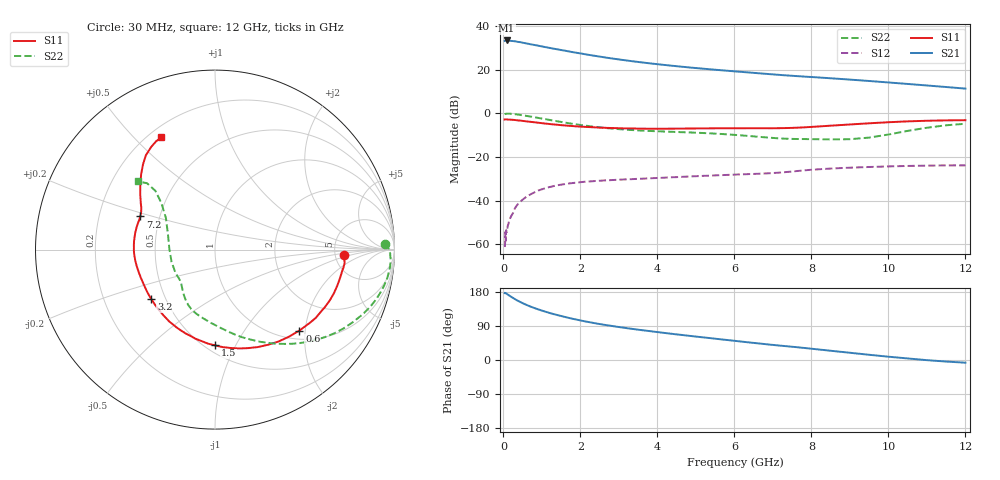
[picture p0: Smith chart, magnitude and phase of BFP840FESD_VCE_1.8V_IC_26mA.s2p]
! Infineon Technologies  Discrete & RF Semiconductors
! BFP840FESD
! VCE =  1.8 V,  IC =  26 mA
! Common Emitter S-Parameters:  May 2012
# GHz  S  MA  R  50
!  f  S11  S21  S12  S22
! GHz  MAG  ANG  MAG  ANG  MAG  ANG  MAG  ANG
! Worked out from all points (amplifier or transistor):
!   103 points, 30 MHz to 12 GHz, reference 50 ohm
!   highest |S21| = 33.4 dB at 80 MHz (marker M1)
!   |S21| within 3 dB of that: start of sweep to 1.073 GHz
!   unconditionally stable (mu >= 1): 5.575 GHz to end of sweep
!   at 400 MHz: K = 0.19, MSG = 36.9 dB, |S12| = -41.1 dB
!   at 3.7 GHz: K = 0.80, MSG = 26.5 dB, |S12| = -29.9 dB
!   at 12 GHz: K = 1.08, MAG = 15.8 dB, |S12| = -23.9 dB
!   S11 on the Smith chart (normalised r, x): 30 MHz: 6.02, -0.78; 600 MHz: 1.19, -1.86; 1.5 GHz: 0.56, -0.83; 3.2 GHz: 0.42, -0.29; 7.2 GHz: 0.39, +0.18; 12 GHz: 0.25, +0.60
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0.03  0.7192 -2.5  45.34 176.6  0.001 88.2  0.9454 2.0
0.04  0.7196 -3.4  45.62 176.1  0.0009 87.1  0.957 1.1
0.05  0.7238 -4.1  45.97 177.0  0.0019 85.4  0.9669 0.4
0.08  0.7249 -6.6  46.56 174.9  0.0019 97.7  0.9771 -2.0
0.25  0.7056 -20.2  45.08 163.7  0.0052 80.3  0.9631 -12.1
0.35  0.6911 -27.6  43.61 157.6  0.0078 76.8  0.9399 -17.1
0.45  0.6783 -34.1  42.45 152.4  0.0096 72.8  0.9126 -21.5
0.6  0.6516 -43.8  39.84 145.3  0.0123 69.2  0.8687 -27.7
0.8  0.6223 -55.4  36.78 137.3  0.0153 63.8  0.8118 -35.1
1  0.5928 -66.4  33.94 130.3  0.0181 59.1  0.7554 -41.7
1.3  0.5547 -81.1  30.24 121.2  0.0214 53.3  0.678 -50.7
1.5  0.5335 -90.0  28.09 116.0  0.0231 50.4  0.6315 -56.2
1.8  0.5084 -102.3  25.14 108.7  0.0252 46.4  0.5722 -63.9
2.1  0.4886 -113.0  22.69 102.3  0.0269 43.4  0.524 -70.7
2.6  0.4658 -127.9  19.24 93.2  0.0288 40.2  0.465 -80.5
3.2  0.4493 -142.2  16.2 84.1  0.0306 38.1  0.4196 -90.1
4.1  0.4422 -159.3  13.02 72.4  0.0331 37.5  0.3834 -101.7
6.1  0.453 172.4  8.992 49.5  0.0396 37.5  0.315 -122.5
7.2  0.4557 156.1  7.533 37.8  0.0439 40.3  0.2649 -135.7
8.5  0.5191 143.4  6.337 24.4  0.0541 37.1  0.2516 -164.3
10.5  0.6518 126.2  4.695 4.1  0.062 28.9  0.395 139.1
12  0.6936 115.5  3.67 -7.1  0.0639 25.6  0.5744 138.6
